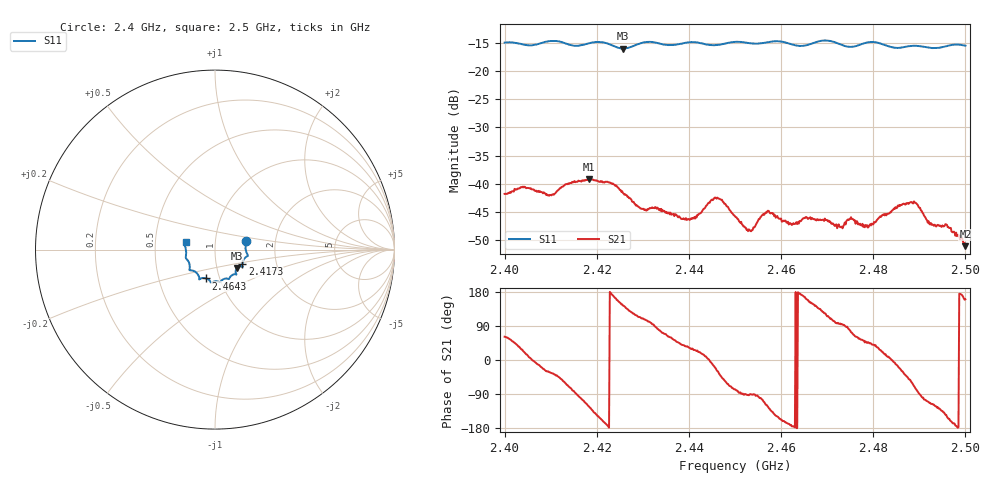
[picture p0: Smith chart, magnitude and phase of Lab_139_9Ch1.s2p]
# Hz S RI R 50
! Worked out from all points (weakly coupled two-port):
!   601 points, 2.4 GHz to 2.5 GHz, reference 50 ohm
!   highest |S21| = -39.18 dB at 2.4183 GHz (marker M1); lowest = -51.1 dB at 2.5 GHz (marker M2)
!   lowest |S11| = -15.9 dB at 2.4257 GHz (marker M3), VSWR 1.38, Z = 62.5 - j13.1 ohm
!   |S11| at or under -10 dB: start of sweep to end of sweep
!   S12 and S22 are empty: the file has one direction only
!   S11 on the Smith chart (normalised r, x): 2.4 GHz: 1.41, +0.14; 2.4173 GHz: 1.34, -0.23; 2.4643 GHz: 0.86, -0.28; 2.5 GHz: 0.72, +0.06
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2.4e9  0.1735 0.0491  0.00387 0.00711  0 0  0 0
2.404e9  0.1718 0.0251  0.0086 0.0038  0 0  0 0
2.410167e9  0.1834 -0.0326  0.00649 -0.00444  0 0  0 0
2.416667e9  0.1534 -0.0748  -0.00228 -0.0102  0 0  0 0
2.417333e9  0.1526 -0.0823  -0.00381 -0.01  0 0  0 0
2.418333e9  0.1528 -0.0914  -0.00598 -0.00921  0 0  0 0
2.425667e9  0.1226 -0.1019  -0.00668 0.00486  0 0  0 0
2.429833e9  0.1176 -0.1353  -0.00197 0.00561  0 0  0 0
2.433333e9  0.1131 -0.1373  0.000923 0.00592  0 0  0 0
2.44e9  0.0795 -0.1631  0.00405 0.0026  0 0  0 0
2.446e9  0.0475 -0.1646  0.00656 -0.00328  0 0  0 0
2.45e9  0.0292 -0.1807  0.00112 -0.00499  0 0  0 0
2.453333e9  0.0155 -0.1771  -1.17e-06 -0.00378  0 0  0 0
2.457e9  -0.0133 -0.1809  -0.0029 -0.00486  0 0  0 0
2.464333e9  -0.0499 -0.1607  -0.0046 0.000631  0 0  0 0
2.466667e9  -0.076 -0.1595  -0.00426 0.00254  0 0  0 0
2.478667e9  -0.1392 -0.1155  0.003 0.00302  0 0  0 0
2.483333e9  -0.1407 -0.0903  0.00533 0.000819  0 0  0 0
2.489167e9  -0.1626 -0.0448  0.00175 -0.00652  0 0  0 0
2.492167e9  -0.1608 -0.0237  -0.00172 -0.00403  0 0  0 0
2.496167e9  -0.1676 0.0205  -0.00364 -0.00187  0 0  0 0
2.5e9  -0.1637 0.042  -0.00261 0.000936  0 0  0 0
